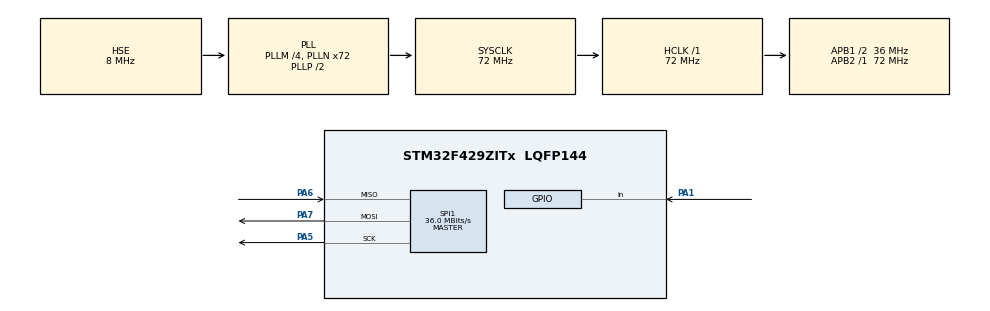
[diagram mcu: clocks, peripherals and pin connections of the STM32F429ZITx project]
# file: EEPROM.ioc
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Mcu.Family=STM32F4
Mcu.Name=STM32F429ZITx
Mcu.Package=LQFP144
NVIC.PriorityGroup=NVIC_PRIORITYGROUP_4
NVIC.SPI1_IRQn=true\:0\:0\:false\:false\:true\:true\:true\:true
PA1.Signal=GPIO_Input
PA5.Mode=Full_Duplex_Master
PA5.Signal=SPI1_SCK
PA6.Mode=Full_Duplex_Master
PA6.Signal=SPI1_MISO
PA7.Mode=Full_Duplex_Master
PA7.Signal=SPI1_MOSI
PH0/OSC_IN.Mode=HSE-External-Oscillator
PH0/OSC_IN.Signal=RCC_OSC_IN
PH1/OSC_OUT.Mode=HSE-External-Oscillator
PH1/OSC_OUT.Signal=RCC_OSC_OUT
ProjectManager.HeapSize=0x200
ProjectManager.StackSize=0x400
ProjectManager.TargetToolchain=STM32CubeIDE
RCC.48MHZClocksFreq_Value=48000000
RCC.AHBFreq_Value=72000000
RCC.APB1CLKDivider=RCC_HCLK_DIV2
RCC.APB1Freq_Value=36000000
RCC.APB1TimFreq_Value=72000000
RCC.APB2Freq_Value=72000000
RCC.APB2TimFreq_Value=72000000
RCC.CortexFreq_Value=72000000
RCC.HCLKFreq_Value=72000000
RCC.HSE_VALUE=8000000
RCC.HSI_VALUE=16000000
RCC.LSE_VALUE=32768
RCC.PLLM=4
RCC.PLLN=72
RCC.PLLQ=3
RCC.PLLSAIN=50
RCC.PLLSourceVirtual=RCC_PLLSOURCE_HSE
RCC.SYSCLKFreq_VALUE=72000000
RCC.SYSCLKSource=RCC_SYSCLKSOURCE_PLLCLK
RCC.VCOOutputFreq_Value=144000000
SPI1.BaudRatePrescaler=SPI_BAUDRATEPRESCALER_2
SPI1.CalculateBaudRate=36.0 MBits/s
SPI1.Direction=SPI_DIRECTION_2LINES
SPI1.Mode=SPI_MODE_MASTER
SPI1.VirtualType=VM_MASTER
board=STM32F429I-DISC1

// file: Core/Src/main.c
/* USER CODE BEGIN Header */
/**
  ******************************************************************************
  * @file           : main.c
  * @brief          : Main program body
  ******************************************************************************
  * @attention
  *
  * Copyright (c) 2023 STMicroelectronics.
  * All rights reserved.
  *
  * This software is licensed under terms that can be found in the LICENSE file
  * in the root directory of this software component.
  * If no LICENSE file comes with this software, it is provided AS-IS.
  *
  ******************************************************************************
  */
/* USER CODE END Header */
#include "main.h"

SPI_HandleTypeDef hspi1;

void SystemClock_Config(void);
static void MX_GPIO_Init(void);
static void MX_SPI1_Init(void);

/* USER CODE BEGIN 0 */

uint8_t sData[2]={2,1,5};
uint8_t gData[2]={3,1};
uint8_t gData1[20];

void eepromWrite(uint8_t sData)
{

    HAL_GPIO_WritePin(GPIOA, GPIO_PIN_1, GPIO_PIN_SET);
	HAL_GPIO_WritePin(GPIOA, GPIO_PIN_1, GPIO_PIN_RESET);

    HAL_SPI_Transmit(&hspi1,sData,3,100);
    HAL_GPIO_WritePin(GPIOA, GPIO_PIN_1, GPIO_PIN_SET);

}

void eepromRead(uint8_t gData,uint8_t gData1)
{

    HAL_GPIO_WritePin(GPIOA, GPIO_PIN_1, GPIO_PIN_SET);
    HAL_GPIO_WritePin(GPIOA, GPIO_PIN_1, GPIO_PIN_RESET);
    HAL_SPI_Transmit(&hspi1,gData,2,100);
	HAL_SPI_Receive(&hspi1,gData1,1,100);

	HAL_GPIO_WritePin(GPIOA, GPIO_PIN_1, GPIO_PIN_SET);

}

/* USER CODE END 0 */

int main(void)
{

  /* MCU Configuration--------------------------------------------------------*/

  /* Reset of all peripherals, Initializes the Flash interface and the Systick. */
  HAL_Init();

  /* Configure the system clock */
  SystemClock_Config();

  /* Initialize all configured peripherals */
  MX_GPIO_Init();
  MX_SPI1_Init();
  /* USER CODE BEGIN 2 */

  eepromWrite(sData);
  eepromRead(gData,gData1);

  /* USER CODE END 2 */

  /* Infinite loop */
  while (1)
  {

  }
}

void SystemClock_Config(void)
{
  RCC_OscInitTypeDef RCC_OscInitStruct = {0};
  RCC_ClkInitTypeDef RCC_ClkInitStruct = {0};

  /** Configure the main internal regulator output voltage
  */
  __HAL_RCC_PWR_CLK_ENABLE();
  __HAL_PWR_VOLTAGESCALING_CONFIG(PWR_REGULATOR_VOLTAGE_SCALE3);

  /** Initializes the RCC Oscillators according to the specified parameters
  * in the RCC_OscInitTypeDef structure.
  */
  RCC_OscInitStruct.OscillatorType = RCC_OSCILLATORTYPE_HSE;
  RCC_OscInitStruct.HSEState = RCC_HSE_ON;
  RCC_OscInitStruct.PLL.PLLState = RCC_PLL_ON;
  RCC_OscInitStruct.PLL.PLLSource = RCC_PLLSOURCE_HSE;
  RCC_OscInitStruct.PLL.PLLM = 4;
  RCC_OscInitStruct.PLL.PLLN = 72;
  RCC_OscInitStruct.PLL.PLLP = RCC_PLLP_DIV2;
  RCC_OscInitStruct.PLL.PLLQ = 3;
  if (HAL_RCC_OscConfig(&RCC_OscInitStruct) != HAL_OK)
  {
    Error_Handler();
  }

  /** Initializes the CPU, AHB and APB buses clocks
  */
  RCC_ClkInitStruct.ClockType = RCC_CLOCKTYPE_HCLK|RCC_CLOCKTYPE_SYSCLK
                              |RCC_CLOCKTYPE_PCLK1|RCC_CLOCKTYPE_PCLK2;
  RCC_ClkInitStruct.SYSCLKSource = RCC_SYSCLKSOURCE_PLLCLK;
  RCC_ClkInitStruct.AHBCLKDivider = RCC_SYSCLK_DIV1;
  RCC_ClkInitStruct.APB1CLKDivider = RCC_HCLK_DIV2;
  RCC_ClkInitStruct.APB2CLKDivider = RCC_HCLK_DIV1;

  if (HAL_RCC_ClockConfig(&RCC_ClkInitStruct, FLASH_LATENCY_2) != HAL_OK)
  {
    Error_Handler();
  }
}

static void MX_SPI1_Init(void)
{

  /* SPI1 parameter configuration*/
  hspi1.Instance = SPI1;
  hspi1.Init.Mode = SPI_MODE_MASTER;
  hspi1.Init.Direction = SPI_DIRECTION_2LINES;
  hspi1.Init.DataSize = SPI_DATASIZE_8BIT;
  hspi1.Init.CLKPolarity = SPI_POLARITY_LOW;
  hspi1.Init.CLKPhase = SPI_PHASE_1EDGE;
  hspi1.Init.NSS = SPI_NSS_SOFT;
  hspi1.Init.BaudRatePrescaler = SPI_BAUDRATEPRESCALER_2;
  hspi1.Init.FirstBit = SPI_FIRSTBIT_MSB;
  hspi1.Init.TIMode = SPI_TIMODE_DISABLE;
  hspi1.Init.CRCCalculation = SPI_CRCCALCULATION_DISABLE;
  hspi1.Init.CRCPolynomial = 10;
  if (HAL_SPI_Init(&hspi1) != HAL_OK)
  {
    Error_Handler();
  }

}

static void MX_GPIO_Init(void)
{
  GPIO_InitTypeDef GPIO_InitStruct = {0};

  /* GPIO Ports Clock Enable */
  __HAL_RCC_GPIOH_CLK_ENABLE();
  __HAL_RCC_GPIOA_CLK_ENABLE();

  /*Configure GPIO pin : PA1 */
  GPIO_InitStruct.Pin = GPIO_PIN_1;
  GPIO_InitStruct.Mode = GPIO_MODE_INPUT;
  GPIO_InitStruct.Pull = GPIO_NOPULL;
  HAL_GPIO_Init(GPIOA, &GPIO_InitStruct);

}

void Error_Handler(void)
{
  __disable_irq();
  while (1)
  {
  }
}
